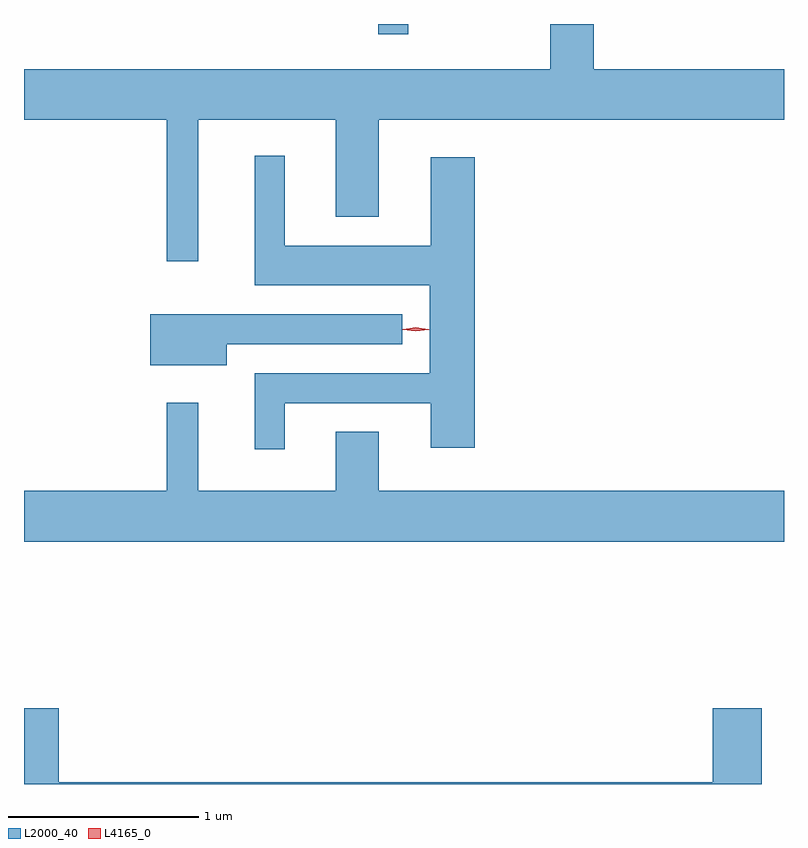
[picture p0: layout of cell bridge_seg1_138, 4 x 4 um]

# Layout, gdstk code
import gdstk
lib = gdstk.Library(unit=1e-6, precision=1e-09)
def R(c, l, rs):  # rectangles x0, y0, x1, y1
    for r in rs: c.add(gdstk.rectangle(r[:2], r[2:], *l))
def P(c, l, *ps):  # polygons
    for p in ps: c.add(gdstk.Polygon(p, *l))
L2000_40 = (2000, 40)
L4165_0 = (4165, 0)

bridge_seg1_138 = lib.new_cell('bridge_seg1_138')
R(bridge_seg1_138, L2000_40, [(911.696,964.408,911.854,964.461)])
P(bridge_seg1_138, L2000_40, [(910.749,963.956),(911.471,963.956),(911.471,963.446),(911.699,963.446),(911.699,963.956),(913.831,963.956),(913.831,964.224),(912.829,964.224),(912.829,964.461),(912.601,964.461),(912.601,964.224),(909.831,964.224),(909.831,963.956),(910.581,963.956),(910.581,963.213),(910.749,963.213)],
  [(911.204,962.466),(911.971,962.466),(911.971,962.231),(912.204,962.231),(912.204,963.759),(911.971,963.759),(911.971,963.294),(911.204,963.294),(911.204,963.768),(911.046,963.768),(911.046,963.086),(911.966,963.086),(911.966,962.624),(911.046,962.624),(911.046,962.223),(911.204,962.223)],
  [(910.899,962.776),(911.823,962.776),(911.823,962.934),(910.496,962.934),(910.496,962.666),(910.899,962.666)],
  [(913.831,962.004),(911.699,962.004),(911.699,962.314),(911.471,962.314),(911.471,962.004),(910.749,962.004),(910.749,962.468),(910.581,962.468),(910.581,962.004),(909.831,962.004),(909.831,961.736),(913.831,961.736)],
  [(913.714,960.859),(913.456,960.859),(913.456,960.469),(910.014,960.469),(910.014,960.859),(909.831,960.859),(909.831,960.461),(913.714,960.461)])
P(bridge_seg1_138, L4165_0, [(911.893,962.845),(911.827,962.854),(911.827,962.855),(911.827,962.855),(911.893,962.865),(911.959,962.855),(911.96,962.855),(911.959,962.854)],
  [(911.893,962.843),(911.824,962.852),(911.823,962.853),(911.824,962.854),(911.893,962.863),(911.962,962.854),(911.963,962.853),(911.962,962.852)])

lib.write_gds('bridge_seg1_138.gds')
